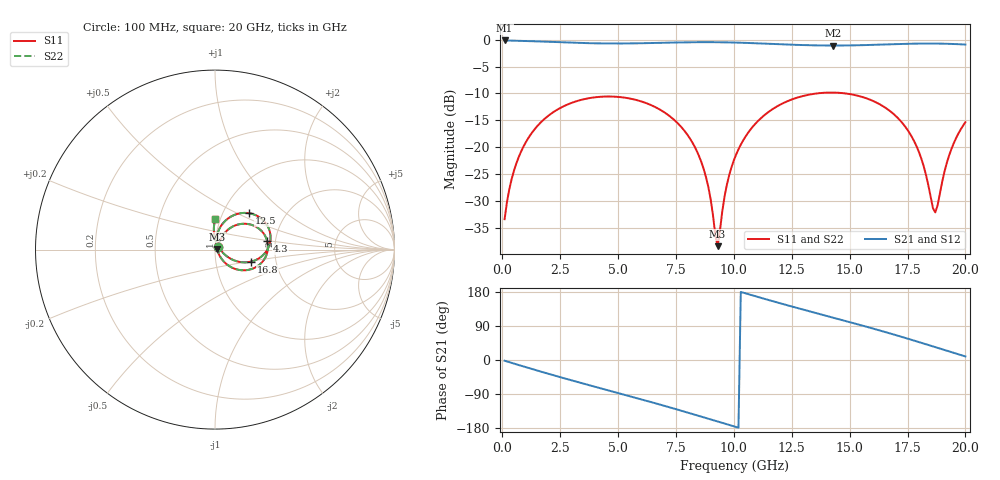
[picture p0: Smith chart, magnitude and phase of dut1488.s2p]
! Touchstone file exported from HFSS 2026.1.0
!  File:  C:/ffzhzh/LocalFiles/Ansys_Project_Files/temp_train_TSV_RDL_1488_1783386732_52956.aedt
!  Generated:  09:20:23 AM Jul  7, 2026
!  Design:  TSV_RDL
!  Project:  temp_train_TSV_RDL_1488_1783386732_52956
! Variables:
!  h_bsmrdl = 5.11um
!  h_ox = 20um
!  h_rdl = 5um
!  h_sub = 78.87um
!  h_tmrdl = 5.3um
!  h_tsv = 78.87um
!  h_via = 3um
!  l_bsmrdl = 400.91um
!  l_sub = 5689.33um
!  l_tmrdl = 985.95um
!  m_sub = 200um
!  pitch = 39.7um
!  r_tsv = 14.91um
!  s_tmrdl = 10um
!  w_bsmrdl = 26.75um
!  w_sub = 500um
!  w_tmrdl = 20.85um
!  x_tsv_center1 = 996.375um
!  x_tsv_center2 = 1424.035um
!  x_tsv_center3 = 2430.835um
!  x_tsv_center4 = 2858.495um
!  x_tsv_center5 = 3865.295um
!  x_tsv_center6 = 4292.955um
# GHz S MA R 50.000000
! Terminal data exported
! Port[1] = TM_RDL1_1_T1
! Port[2] = TM_RDL5_1_T1
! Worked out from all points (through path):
!   200 points, 100 MHz to 20 GHz, reference 50 ohm
!   highest |S21| = -0.15 dB at 100 MHz (marker M1); lowest = -1.1 dB at 14.3 GHz (marker M2)
!   group delay of S21, straight-line fit = 48.2 ps
!   lowest |S11| = -38.4 dB at 9.3 GHz (marker M3), VSWR 1.02, Z = 51.1 + j0.403 ohm
!   |S11| at or under -10 dB: start of sweep to 13.61 GHz; 14.8 GHz to end of sweep
!   |S22| runs from -38.2 to -9.8 dB; largest |S21 - S12| = 8.7e-15
!   S11 on the Smith chart (normalised r, x): 100 MHz: 1.04, +0.03; 4.3 GHz: 1.80, +0.20; 12.5 GHz: 1.32, +0.58; 16.8 GHz: 1.49, -0.21; 20 GHz: 0.95, +0.33
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0.1  0.02134 35.1  0.9829 -2.0  0.9829 -2.0  0.02134 35.1
! Gamma 0 0 0 0
! Port Impedance 50 0 50 0
0.5  0.05991 60.3  0.9777 -9.4  0.9777 -9.4  0.0599 60.3
1.2  0.1285 57.4  0.9686 -22.2  0.9686 -22.2  0.1285 57.4
3.5  0.2783 22.3  0.9294 -62.2  0.9294 -62.2  0.2783 22.3
4.3  0.2946 9.7  0.9224 -75.5  0.9224 -75.5  0.2946 9.7
6.8  0.224 -29.8  0.9335 -117.5  0.9335 -117.5  0.224 -29.7
7.8  0.1477 -45.2  0.9433 -135.1  0.9433 -135.1  0.1477 -45.1
8.5  0.08221 -53.7  0.9473 -147.7  0.9473 -147.7  0.08228 -53.5
8.9  0.0424 -52.7  0.9477 -155.0  0.9477 -155.0  0.04252 -52.3
9.3  0.01197 19.2  0.9464 -162.3  0.9464 -162.3  0.01231 18.9
9.7  0.04477 81.4  0.9436 -169.6  0.9436 -169.6  0.04484 80.9
10.1  0.08537 81.8  0.9392 -176.8  0.9392 -176.8  0.08539 81.5
11.1  0.1799 68.8  0.923 165.3  0.923 165.3  0.1799 68.7
12.5  0.2774 47.0  0.8973 141.2  0.8973 141.2  0.2774 47.0
13.4  0.3118 33.1  0.8858 126.3  0.8858 126.3  0.3117 33.1
14.3  0.3217 19.4  0.8815 111.6  0.8815 111.6  0.3217 19.3
16.7  0.2202 -17.0  0.9043 71.0  0.9043 71.0  0.2202 -17.0
16.8  0.2118 -18.4  0.9058 69.2  0.9058 69.2  0.2118 -18.5
17.9  0.1007 -30.2  0.9186 49.1  0.9186 49.1  0.1007 -30.4
18.7  0.02469 35.4  0.9197 34.0  0.9197 34.0  0.02451 35.5
19.3  0.08394 93.0  0.9141 22.6  0.9141 22.6  0.08392 93.1
20  0.1705 89.2  0.9007 9.4  0.9007 9.4  0.1706 89.2
